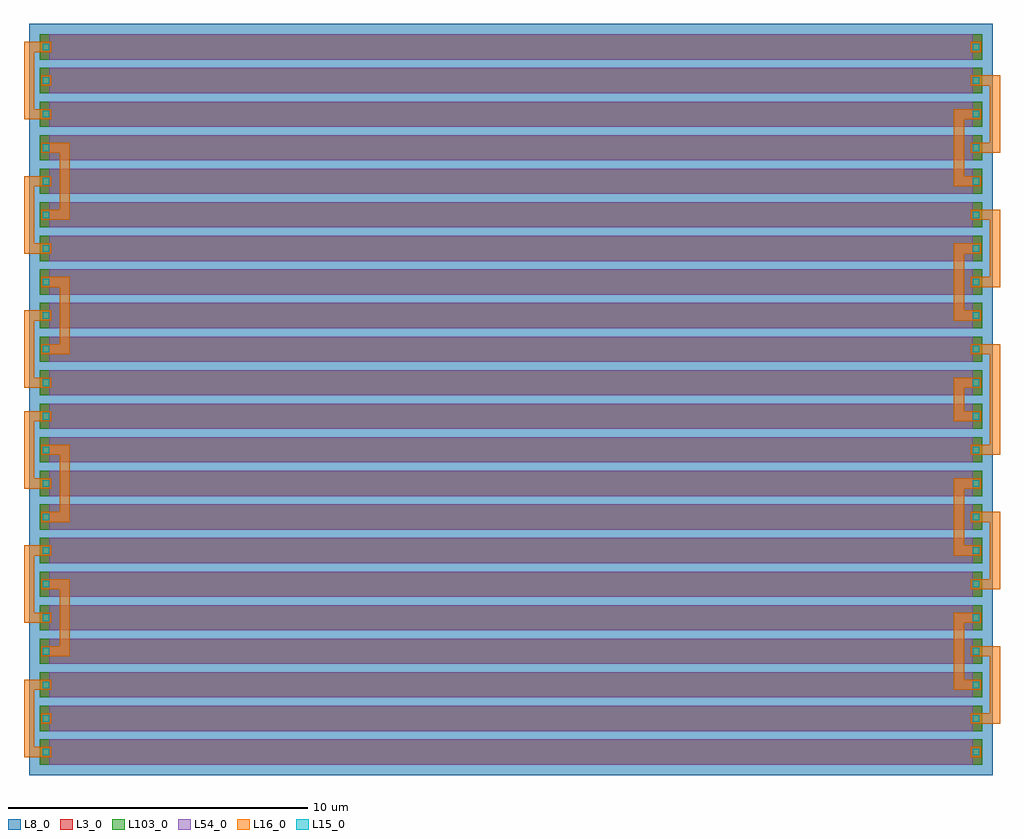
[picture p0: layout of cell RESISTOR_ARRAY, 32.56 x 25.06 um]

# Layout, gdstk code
import gdstk
lib = gdstk.Library(unit=1e-6, precision=1e-09)
def R(c, l, rs):  # rectangles x0, y0, x1, y1
    for r in rs: c.add(gdstk.rectangle(r[:2], r[2:], *l))
def A(c, l, x, y, w, h, nx, ny, dx, dy):  # array of equal rectangles
    R(c, l, [(x+i*dx, y+j*dy, x+i*dx+w, y+j*dy+h) for i in range(nx) for j in range(ny)])
L3_0 = (3, 0)
L8_0 = (8, 0)
L15_0 = (15, 0)
L16_0 = (16, 0)
L54_0 = (54, 0)
L103_0 = (103, 0)

resistor_array = lib.new_cell('RESISTOR_ARRAY')
A(resistor_array, L3_0, -0.32, 0, 31.44, 0.84, 1, 22, 0, 1.12)
A(resistor_array, L8_0, -0.67, -0.35, 32.14, 1.54, 1, 22, 0, 1.12)
A(resistor_array, L15_0, -0.22, 0.31, 0.22, 0.22, 1, 22, 0, 1.12)
A(resistor_array, L15_0, 30.8, 0.31, 0.22, 0.22, 1, 22, 0, 1.12)
A(resistor_array, L16_0, -0.85, 0.25, 0.34, 2.58, 1, 3, 0, 4.48)
A(resistor_array, L16_0, -0.51, 0.25, 0.23, 0.34, 1, 6, 0, 2.24)
A(resistor_array, L16_0, -0.28, 0.25, 0.34, 0.34, 1, 22, 0, 1.12)
A(resistor_array, L16_0, 30.74, 0.25, 0.34, 0.34, 1, 22, 0, 1.12)
A(resistor_array, L16_0, 30.8, 1.37, 0.91, 0.34, 1, 5, 0, 2.24)
A(resistor_array, L16_0, 30.51, 2.49, 0.29, 0.34, 1, 5, 0, 2.24)
A(resistor_array, L16_0, -0.28, 3.61, 0.91, 0.34, 1, 4, 0, 2.24)
A(resistor_array, L16_0, -0.85, 12.57, 0.34, 2.58, 1, 3, 0, 4.48)
A(resistor_array, L16_0, -0.51, 12.57, 0.23, 0.34, 1, 6, 0, 2.24)
A(resistor_array, L16_0, 30.51, 12.57, 0.29, 0.34, 1, 5, 0, 2.24)
A(resistor_array, L16_0, -0.28, 13.69, 0.91, 0.34, 1, 4, 0, 2.24)
A(resistor_array, L16_0, 30.8, 13.69, 0.91, 0.34, 1, 5, 0, 2.24)
R(resistor_array, L16_0, [(31.37,1.37,31.71,3.95), (30.17,2.49,30.51,5.07), (0.34,3.61,0.68,6.19), (31.37,5.85,31.71,8.43), (30.17,6.97,30.51,9.55), (0.34,8.09,0.68,10.67), (31.37,10.33,31.71,14.03), (30.17,11.45,30.51,12.91), (0.34,13.69,0.68,16.27), (30.17,14.81,30.51,17.39), (31.37,15.93,31.71,18.51), (0.34,18.17,0.68,20.75), (30.17,19.29,30.51,21.87), (31.37,20.41,31.71,22.99)])
A(resistor_array, L54_0, 0, 0, 30.8, 0.84, 1, 22, 0, 1.12)
A(resistor_array, L103_0, -0.32, 0, 31.44, 0.84, 1, 22, 0, 1.12)

lib.write_gds('RESISTOR_ARRAY.gds')
